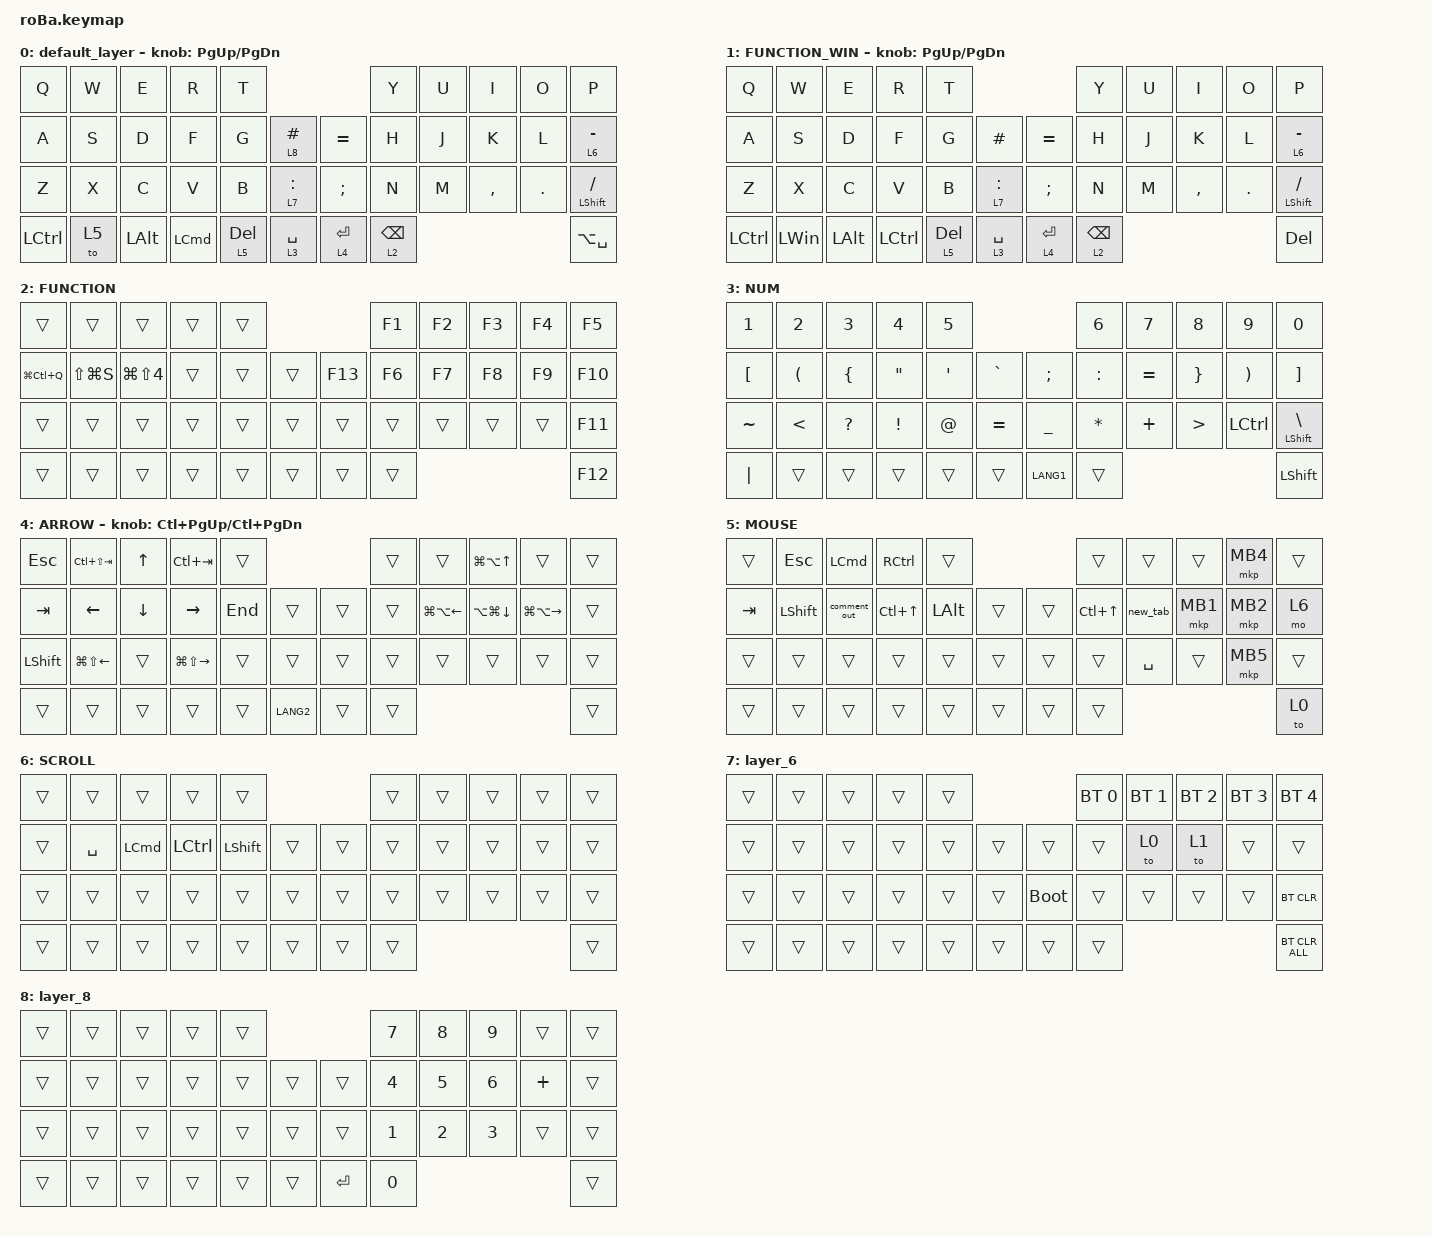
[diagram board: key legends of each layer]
#include <behaviors.dtsi>
#include <dt-bindings/zmk/bt.h>
#include <dt-bindings/zmk/keys.h>
#include <dt-bindings/zmk/pointing.h>

&mt {
    flavor = "balanced";
    quick-tap-ms = <0>;
};

&lt {
    flavor = "hold-preferred";
    tapping-term-ms = <150>;
    retro-tap;
};

&trackball {
    // automouse-layer = <4>;

    scroll-layers = <6>;

    // arrows {
    //     layers = <3>;
    //     bindings =
    //         <&kp RIGHT_ARROW>,
    //         <&kp LEFT_ARROW>,
    //         <&kp UP_ARROW>,
    //         <&kp DOWN_ARROW>;
    //     tick = <10>;
    //     wait-ms = <5>;
    //     tap-ms = <5>;
    // };
};

/ {
    combos {
        compatible = "zmk,combos";

        // J + K 同時押しでマウスレイヤー(5)へ。戻るときはMOUSEレイヤーの右下 &to 0

        combo_mouse {
            timeout-ms = <50>;
            key-positions = <18 19>;
            layers = <0 1>;
            bindings = <&to 5>;
        };
    };

    macros {
        new_tab: new_tab {
            compatible = "zmk,behavior-macro";
            #binding-cells = <0>;
            bindings =
                <&macro_press>,
                <&kp LEFT_COMMAND>,
                <&macro_tap>,
                <&mkp LCLK>,
                <&macro_release>,
                <&kp LEFT_COMMAND>;

            label = "NEW_TAB";
        };

        comment_out: comment_out {
            compatible = "zmk,behavior-macro";
            #binding-cells = <0>;
            bindings =
                <&macro_press>,
                <&kp LEFT_COMMAND>,
                <&macro_tap>,
                <&kp SLASH>,
                <&macro_release>,
                <&kp LEFT_COMMAND>;

            label = "COMMENT_OUT";
        };
    };

    keymap {
        compatible = "zmk,keymap";

        default_layer {
            bindings = <
&kp Q      &kp W  &kp E         &kp R             &kp T                                         &kp Y            &kp U  &kp I      &kp O    &kp P
&kp A      &kp S  &kp D         &kp F             &kp G         &lt 8 HASH       &kp EQUAL      &kp H            &kp J  &kp K      &kp L    &lt 6 MINUS
&kp Z      &kp X  &kp C         &kp V             &kp B         &lt 7 COLON      &kp SEMICOLON  &kp N            &kp M  &kp COMMA  &kp DOT  &mt LEFT_SHIFT SLASH
&kp LCTRL  &to 5  &kp LEFT_ALT  &kp LEFT_COMMAND  &lt 5 DELETE  &lt 3 SPACE      &lt 4 ENTER    &lt 2 BACKSPACE                             &kp LA(SPACE)
            >;

            sensor-bindings = <&inc_dec_kp PG_UP PAGE_DOWN>;
        };

        FUNCTION_WIN {
            bindings = <
&kp Q      &kp W         &kp E         &kp R             &kp T                                         &kp Y            &kp U  &kp I      &kp O    &kp P
&kp A      &kp S         &kp D         &kp F             &kp G         &kp HASH         &kp EQUAL      &kp H            &kp J  &kp K      &kp L    &lt 6 MINUS
&kp Z      &kp X         &kp C         &kp V             &kp B         &lt 7 COLON      &kp SEMICOLON  &kp N            &kp M  &kp COMMA  &kp DOT  &mt LEFT_SHIFT SLASH
&kp LCTRL  &kp LEFT_WIN  &kp LEFT_ALT  &kp LEFT_CONTROL  &lt 5 DELETE  &lt 3 SPACE      &lt 4 ENTER    &lt 2 BACKSPACE                             &kp DEL
            >;

            sensor-bindings = <&inc_dec_kp PG_UP PAGE_DOWN>;
        };

        FUNCTION {
            bindings = <
&trans         &trans         &trans                &trans  &trans                       &kp F1  &kp F2  &kp F3  &kp F4  &kp F5
&kp LG(LC(Q))  &kp LS(LG(S))  &kp LG(LS(NUMBER_4))  &trans  &trans  &trans      &kp F13  &kp F6  &kp F7  &kp F8  &kp F9  &kp F10
&trans         &trans         &trans                &trans  &trans  &trans      &trans   &trans  &trans  &trans  &trans  &kp F11
&trans         &trans         &trans                &trans  &trans  &trans      &trans   &trans                          &kp F12
            >;
        };

        NUM {
            bindings = <
&kp N1            &kp NUMBER_2          &kp NUMBER_3    &kp NUMBER_4       &kp NUMBER_5                                   &kp NUMBER_6  &kp NUMBER_7  &kp NUMBER_8      &kp N9                 &kp N0
&kp LEFT_BRACKET  &kp LEFT_PARENTHESIS  &kp LEFT_BRACE  &kp DOUBLE_QUOTES  &kp APOSTROPHE  &kp GRAVE      &kp SEMICOLON   &kp COLON     &kp EQUAL     &kp RIGHT_BRACE   &kp RIGHT_PARENTHESIS  &kp RIGHT_BRACKET
&kp TILDE         &kp LESS_THAN         &kp QUESTION    &kp EXCLAMATION    &kp AT_SIGN     &kp EQUAL      &kp UNDERSCORE  &kp ASTERISK  &kp PLUS      &kp GREATER_THAN  &kp LCTRL              &mt LEFT_SHIFT BACKSLASH
&kp PIPE          &trans                &trans          &trans             &trans          &trans         &kp LANG1       &trans                                                               &kp LEFT_SHIFT
            >;
        };

        ARROW {
            bindings = <
&kp ESCAPE      &kp LC(LS(TAB))         &kp UP_ARROW    &kp LC(TAB)              &trans                          &trans  &trans            &kp LG(LA(UP))    &trans             &trans
&kp TAB         &kp LEFT_ARROW          &kp DOWN_ARROW  &kp RIGHT_ARROW          &kp END  &trans         &trans  &trans  &kp LG(LA(LEFT))  &kp LA(LG(DOWN))  &kp LG(LA(RIGHT))  &trans
&kp LEFT_SHIFT  &kp LG(LS(LEFT_ARROW))  &trans          &kp LG(LS(RIGHT_ARROW))  &trans   &trans         &trans  &trans  &trans            &trans            &trans             &trans
&trans          &trans                  &trans          &trans                   &trans   &kp LANG2      &trans  &trans                                                         &trans
            >;

            sensor-bindings = <&inc_dec_kp LC(PAGE_UP) LC(PAGE_DOWN)>;
        };

        MOUSE {
            bindings = <
&trans   &kp ESC         &kp LEFT_COMMAND  &kp RIGHT_CONTROL  &trans                            &trans            &trans     &trans    &mkp MB4  &trans
&kp TAB  &kp LEFT_SHIFT  &comment_out      &kp LC(UP_ARROW)   &kp LEFT_ALT  &trans      &trans  &kp LC(UP_ARROW)  &new_tab   &mkp MB1  &mkp MB2  &mo 6
&trans   &trans          &trans            &trans             &trans        &trans      &trans  &trans            &kp SPACE  &trans    &mkp MB5  &trans
&trans   &trans          &trans            &trans             &trans        &trans      &trans  &trans                                           &to 0
            >;
        };

        SCROLL {
            bindings = <
&trans  &trans     &trans            &trans            &trans                              &trans  &trans  &trans  &trans  &trans
&trans  &kp SPACE  &kp LEFT_COMMAND  &kp LEFT_CONTROL  &kp LEFT_SHIFT  &trans      &trans  &trans  &trans  &trans  &trans  &trans
&trans  &trans     &trans            &trans            &trans          &trans      &trans  &trans  &trans  &trans  &trans  &trans
&trans  &trans     &trans            &trans            &trans          &trans      &trans  &trans                          &trans
            >;
        };

        layer_6 {
            bindings = <
&trans  &trans  &trans  &trans  &trans                           &bt BT_SEL 0  &bt BT_SEL 1  &bt BT_SEL 2  &bt BT_SEL 3  &bt BT_SEL 4
&trans  &trans  &trans  &trans  &trans  &trans      &trans       &trans        &to 0         &to 1         &trans        &trans
&trans  &trans  &trans  &trans  &trans  &trans      &bootloader  &trans        &trans        &trans        &trans        &bt BT_CLR
&trans  &trans  &trans  &trans  &trans  &trans      &trans       &trans                                                  &bt BT_CLR_ALL
            >;
        };

        layer_8 {
            bindings = <
&trans  &trans  &trans  &trans  &trans                         &kp N7        &kp N8        &kp N9        &trans    &trans
&trans  &trans  &trans  &trans  &trans  &trans      &trans     &kp NUMBER_4  &kp N5        &kp NUMBER_6  &kp PLUS  &trans
&trans  &trans  &trans  &trans  &trans  &trans      &trans     &kp NUMBER_1  &kp NUMBER_2  &kp NUMBER_3  &trans    &trans
&trans  &trans  &trans  &trans  &trans  &trans      &kp ENTER  &kp N0                                              &trans
            >;
        };
    };
};
